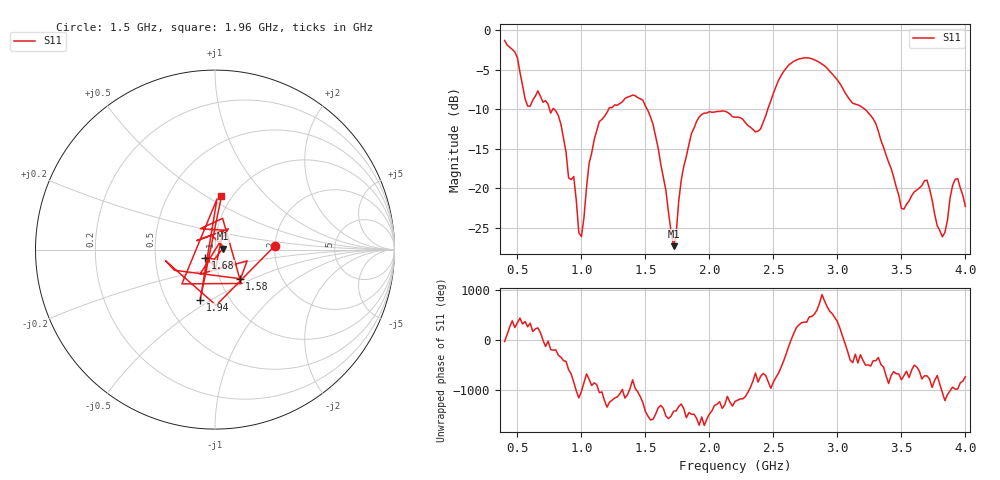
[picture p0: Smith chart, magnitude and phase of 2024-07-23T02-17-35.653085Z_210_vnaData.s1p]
!Created with skrf (http://scikit-rf.org).
# Hz S RI R 50.0
!freq ReS11 ImS11
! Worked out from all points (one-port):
!   181 points, 400 MHz to 4 GHz, reference 50 ohm
!   lowest |S11| = -27.3 dB at 1.72 GHz (marker M1), VSWR 1.09, Z = 54.5 + j0.565 ohm
!   |S11| at or under -10 dB: 788.5 MHz to 1.212 GHz (423.6 MHz wide, 42.3 % of centre); 1.515 GHz to 2.456 GHz (941.1 MHz wide, 47.4 % of centre); 3.216 GHz to end of sweep (the widest 3 of 4)
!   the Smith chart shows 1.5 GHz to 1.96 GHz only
!   S11 on the Smith chart (normalised r, x): 1.5 GHz: 1.99, +0.09; 1.58 GHz: 1.24, -0.42; 1.68 GHz: 0.89, -0.08; 1.94 GHz: 0.73, -0.45; 1.96 GHz: 0.89, +0.58
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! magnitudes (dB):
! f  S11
! 400 MHz  -1.3
! 500 MHz  -3.5
! 580 MHz  -9.6
! 660 MHz  -7.7
! 860 MHz  -13.6
! 1 GHz  -26.1
! 1.06 GHz  -16.8
! 1.14 GHz  -11.5
! 1.3 GHz  -9.3
! 1.5 GHz  -9.6
! 1.58 GHz  -13.5
! 1.68 GHz  -23.0
! 1.72 GHz  -27.3
! 1.76 GHz  -21.7
! 1.86 GHz  -13.0
! 1.94 GHz  -10.6
! 1.96 GHz  -10.5
! 2.2 GHz  -11.0
! 2.4 GHz  -12.5
! 2.66 GHz  -3.9
! 3.1 GHz  -8.8
! 3.28 GHz  -11.2
! 3.5 GHz  -22.5
! 3.56 GHz  -21.6
! 3.7 GHz  -19.0
! 3.82 GHz  -26.1
! 3.92 GHz  -18.9
! 4 GHz  -22.3
